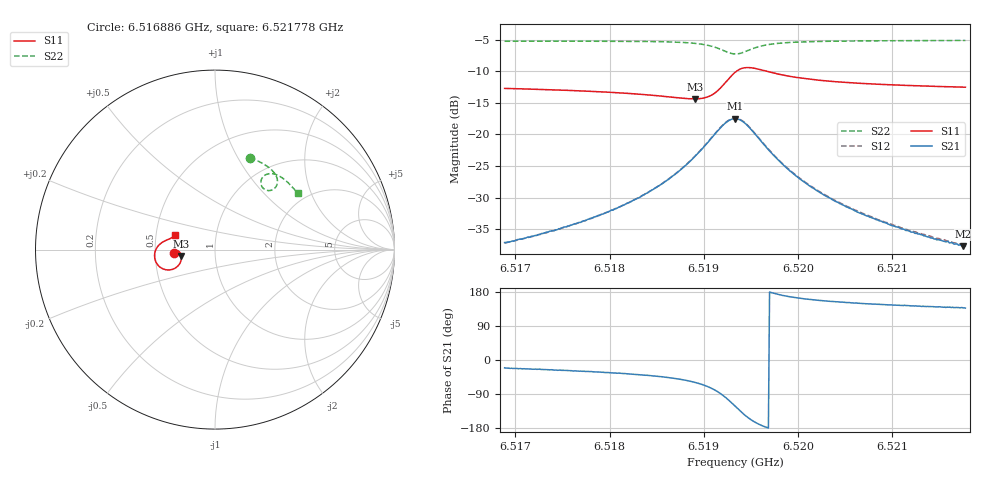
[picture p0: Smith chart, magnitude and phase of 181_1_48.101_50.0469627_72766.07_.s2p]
#  HZ  S  RI  R  50.00
! Rohde & Schwarz Vector Network Analyzer
! Rohde-Schwarz,ZNB20-2Port,1311601062101988,3.16
! Created: UTC 12/23/2023, 3:52:45 AM
! freq[Hz]  re:S11  im:S11  re:S21  im:S21  re:S12  im:S12  re:S22  im:S22
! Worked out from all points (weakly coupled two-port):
!   401 points, 6.516886 GHz to 6.521778 GHz, reference 50 ohm
!   highest |S21| = -17.48 dB at 6.519332 GHz (marker M1); lowest = -37.7 dB at 6.521754 GHz (marker M2)
!   lowest |S11| = -14.4 dB at 6.518904 GHz (marker M3), VSWR 1.47, Z = 34.1 - j2.47 ohm
!   |S11| at or under -10 dB: start of sweep to 6.519346 GHz; 6.519673 GHz to end of sweep
!   |S22| runs from -7.2 to -5.1 dB; largest |S21 - S12| = 0.0042
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6.5168857e9  -0.231 -0.0192  0.013 -0.00492  0.013 -0.00452  0.1952 0.512
6.5172404e9  -0.2274 -0.0138  0.0146 -0.00663  0.0147 -0.00621  0.2214 0.5017
6.5177052e9  -0.2213 -0.008  0.0177 -0.0101  0.018 -0.00949  0.2559 0.4852
6.5181577e9  -0.2123 -0.00563  0.0225 -0.0161  0.0231 -0.0155  0.2898 0.4645
6.5185246e9  -0.202 -0.00962  0.0284 -0.027  0.0294 -0.0261  0.3181 0.4412
6.5187203e9  -0.1947 -0.0177  0.0322 -0.0382  0.0337 -0.0373  0.3333 0.4234
6.5189038e9  -0.1883 -0.0349  0.0344 -0.057  0.0364 -0.0563  0.3452 0.399
6.5190139e9  -0.188 -0.0537  0.0314 -0.0754  0.0339 -0.0749  0.3481 0.3784
6.5190995e9  -0.1946 -0.0746  0.0221 -0.0944  0.0251 -0.0943  0.3437 0.3582
6.519234e9  -0.236 -0.1098  -0.02 -0.1222  -0.0165 -0.1237  0.3125 0.3304
6.5193319e9  -0.2919 -0.1062  -0.0702 -0.1137  -0.0673 -0.1166  0.2742 0.337
6.519393e9  -0.3208 -0.0827  -0.0935 -0.0898  -0.0914 -0.0933  0.2586 0.3568
6.5194542e9  -0.335 -0.0516  -0.1027 -0.0615  -0.1016 -0.0649  0.2559 0.38
6.519552e9  -0.3329 -0.00893  -0.0961 -0.0254  -0.0961 -0.0283  0.2696 0.4072
6.5196621e9  -0.3169 0.0198  -0.0794 -0.00358  -0.0801 -0.00578  0.292 0.4206
6.5198945e9  -0.287 0.0443  -0.0518 0.0113  -0.0528 0.00978  0.3306 0.4209
6.5201514e9  -0.2674 0.0539  -0.0354 0.0135  -0.0364 0.0126  0.3593 0.4092
6.5205061e9  -0.2513 0.0607  -0.0237 0.0127  -0.0245 0.0122  0.3884 0.3894
6.5209708e9  -0.2383 0.0675  -0.0159 0.011  -0.0166 0.0107  0.4182 0.3621
6.5214601e9  -0.2288 0.0743  -0.0114 0.00954  -0.0119 0.00934  0.4447 0.3323
6.5217536e9  -0.2239 0.0785  -0.00962 0.00876  -0.0101 0.00871  0.4588 0.3142
6.5217781e9  -0.2235 0.0788  -0.00954 0.00891  -0.00998 0.00868  0.4597 0.3127
